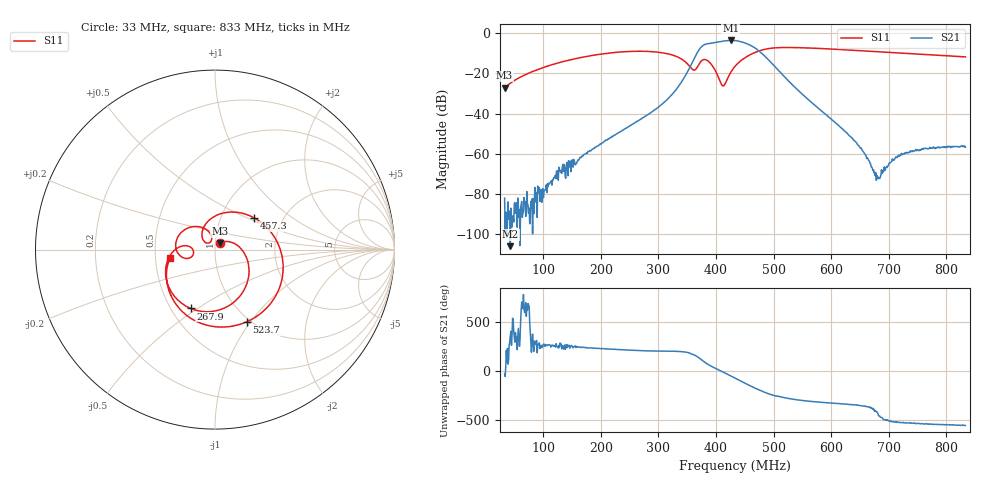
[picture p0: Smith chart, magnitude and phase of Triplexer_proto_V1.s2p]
# HZ S RI R 50
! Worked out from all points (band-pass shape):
!   808 points, 33 MHz to 833 MHz, reference 50 ohm
!   highest |S21| = -3.64 dB at 425.6 MHz (marker M1); lowest = -106.0 dB at 42.91 MHz (marker M2)
!   |S21| within 3 dB of the highest: 375.3 MHz to 463.5 MHz (88.16 MHz wide, 21 % of centre)
!   lowest |S11| = -27.1 dB at 33 MHz (marker M3), VSWR 1.09, Z = 52.5 + j3.73 ohm
!   |S11| at or under -10 dB: start of sweep to 211.8 MHz; 311.5 MHz to 464.6 MHz (153.1 MHz wide, 39.5 % of centre); 727.9 MHz to end of sweep
!   S12 and S22 are empty: the file has one direction only
!   S11 on the Smith chart (normalised r, x): 33 MHz: 1.05, +0.07; 267.9 MHz: 0.63, -0.47; 457.3 MHz: 1.43, +0.55; 523.7 MHz: 0.96, -0.96; 833 MHz: 0.60, -0.06
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3.3e7  0.0261 0.0354  7.06e-05 -3.46e-05  0 0  0 0
4.291326e7  0.039 0.0414  5.01e-06 3e-07  0 0  0 0
9.842752e7  0.1352 0.0156  -4.88e-05 -0.000105  0 0  0 0
1.66829e8  0.1832 -0.1699  -0.000327 -0.000789  0 0  0 0
2.679443e8  -0.1361 -0.3276  -0.00591 -0.00387  0 0  0 0
2.996667e8  -0.2509 -0.2221  -0.0126 -0.00668  0 0  0 0
3.353544e8  -0.2461 -0.0265  -0.0441 -0.0199  0 0  0 0
3.601376e8  -0.1223 -0.00182  -0.2023 0.0232  0 0  0 0
3.690595e8  -0.1482 -0.0486  -0.2916 0.2063  0 0  0 0
3.849207e8  -0.1838 0.0995  0.1295 0.5276  0 0  0 0
4.116865e8  -0.026 0.0415  0.629 -0.0461  0 0  0 0
4.255651e8  -0.0724 0.0766  0.4631 -0.467  0 0  0 0
4.334957e8  -0.0517 0.1426  0.2185 -0.6169  0 0  0 0
4.572875e8  0.2173 0.1773  -0.3996 -0.3286  0 0  0 0
4.83062e8  0.3796 -0.0959  -0.2457 0.139  0 0  0 0
5.237064e8  0.1777 -0.4022  0.00432 0.0694  0 0  0 0
5.663334e8  -0.043 -0.4218  0.0111 0.015  0 0  0 0
6.406828e8  -0.2191 -0.3013  0.002 0.00066  0 0  0 0
6.803359e8  -0.2542 -0.2344  0.000147 -0.000231  0 0  0 0
7.001624e8  -0.2629 -0.2046  -0.000455 -0.000329  0 0  0 0
7.398154e8  -0.2704 -0.1497  -0.00112 -0.000256  0 0  0 0
8.330001e8  -0.2518 -0.049  -0.00143 0.000279  0 0  0 0
